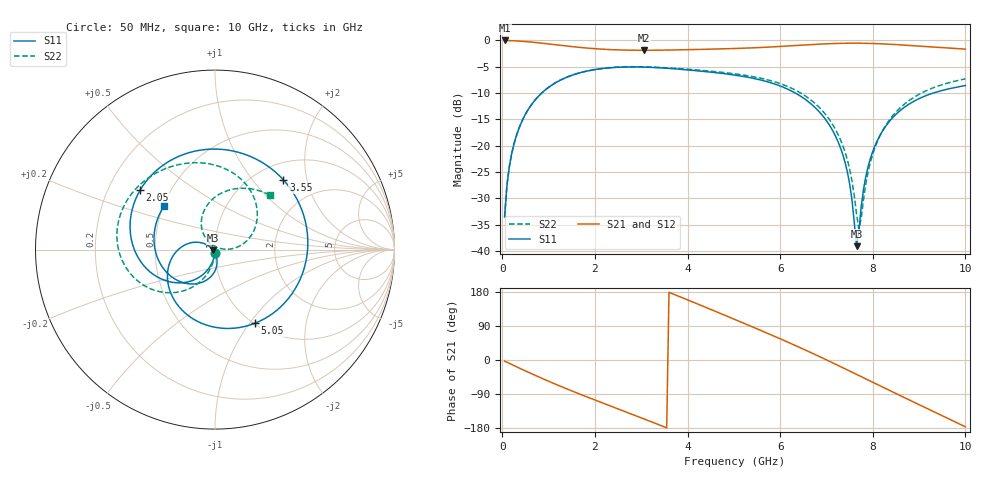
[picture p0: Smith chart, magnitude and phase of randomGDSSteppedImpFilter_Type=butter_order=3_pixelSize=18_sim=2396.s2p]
! freq	dB(S11)	phase(S11)	dB(S12)	phase(S12)
!  dB(S21)	phase(S21)	dB(S22)	phase(S22)
!S-par simulation data
#  GHz  S  DB  R 50
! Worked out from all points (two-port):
!   200 points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, 50 MHz to 10 GHz, reference 50 ohm
!   highest |S21| = -0.01 dB at 50 MHz (marker M1); lowest = -1.9 dB at 3.05 GHz (marker M2)
!   |S21| within 3 dB of the highest: start of sweep to end of sweep
!   lowest |S11| = -39.1 dB at 7.65 GHz (marker M3), VSWR 1.02, Z = 49 - j0.457 ohm
!   |S11| at or under -10 dB: start of sweep to 850.3 MHz; 6.33 GHz to 9.304 GHz (2.975 GHz wide, 38.1 % of centre)
!   |S22| runs from -35.8 to -5.0 dB; largest |S21 - S12| = 0
!   S11 on the Smith chart (normalised r, x): 50 MHz: 1.00, -0.04; 2.05 GHz: 0.34, +0.31; 3.55 GHz: 1.32, +1.46; 5.05 GHz: 1.01, -1.06; 10 GHz: 0.50, +0.28
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0.05  -33.53 -93.3  -0.01 -3.0  -0.01 -3.0  -33.53 -92.4
0.1  -27.56 -96.9  -0.02 -5.9  -0.02 -5.9  -27.55 -95.2
0.2  -21.63 -103.7  -0.05 -11.7  -0.05 -11.7  -21.62 -100.4
0.5  -14.02 -123.6  -0.22 -28.8  -0.22 -28.8  -14.01 -115.2
1.1  -8.31 -161.5  -0.78 -61.3  -0.78 -61.3  -8.30 -142.3
1.75  -5.98 159.5  -1.39 -93.6  -1.39 -93.6  -5.96 -167.9
2.05  -5.47 141.6  -1.60 -107.9  -1.60 -107.9  -5.45 -178.5
3.05  -5.06 79.3  -1.88 -154.9  -1.88 -154.9  -5.01 150.2
3.4  -5.20 55.8  -1.85 -171.7  -1.85 -171.7  -5.13 140.3
3.55  -5.29 45.5  -1.84 -179.0  -1.84 -179.0  -5.20 136.2
4.25  -5.80 -4.4  -1.71 146.2  -1.71 146.2  -5.65 117.3
5.05  -6.62 -61.7  -1.53 105.6  -1.53 105.6  -6.38 94.3
5.85  -8.19 -115.6  -1.22 64.0  -1.22 64.0  -7.78 66.5
6.7  -12.30 -169.7  -0.78 17.5  -0.78 17.5  -11.56 30.6
7.35  -21.62 153.0  -0.54 -20.1  -0.54 -20.1  -19.90 3.5
7.5  -27.21 149.9  -0.53 -29.0  -0.53 -29.0  -24.42 1.8
7.65  -39.07 -155.2  -0.52 -38.0  -0.52 -38.0  -33.01 24.3
7.7  -36.29 -102.5  -0.53 -40.9  -0.53 -40.9  -35.79 60.7
7.9  -23.93 -79.7  -0.56 -52.9  -0.56 -52.9  -24.91 129.0
8.35  -15.48 -103.2  -0.72 -79.7  -0.72 -79.7  -15.22 116.0
9.05  -10.85 -148.7  -1.11 -120.7  -1.11 -120.7  -10.00 83.6
10  -8.57 139.9  -1.65 -176.3  -1.65 -176.3  -7.30 44.4
